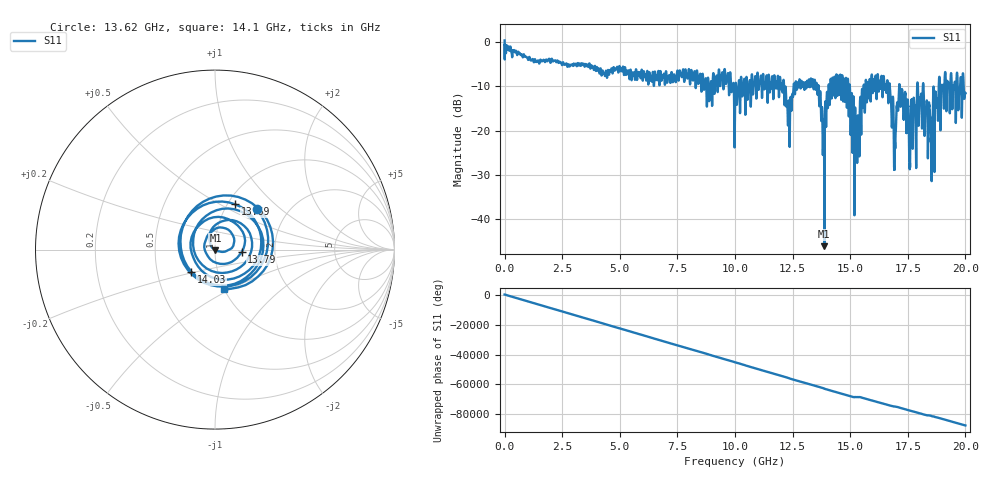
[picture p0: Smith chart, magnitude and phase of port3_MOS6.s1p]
! MS46122B
! 2250307/22442219
! 7/25/2025 1:37:32 PM
! C:\USERS\SPARKY\DOCUMENTS\VNA_DATA\JULY25_2025\3K\PORT3_MOS6.S1P
! CHANNEL.1
! TR.MEASUREMENT
! RAW.DATA
# GHZ S RI R 50.0
! FREQ.GHZ  S11RE  S11IM
!; PortSelection: Port_1
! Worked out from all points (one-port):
!   10001 points, 1 MHz to 20 GHz, reference 50 ohm
!   lowest |S11| = -46.1 dB at 13.88 GHz (marker M1), VSWR 1.01, Z = 50.2 - j0.449 ohm
!   |S11| at or under -10 dB: 14.99 GHz to 15.58 GHz (596.2 MHz wide, 3.9 % of centre); 17.15 GHz to 17.91 GHz (758.3 MHz wide, 4.33 % of centre); 18.18 GHz to 18.84 GHz (661.3 MHz wide, 3.57 % of centre) (the widest 3 of 88)
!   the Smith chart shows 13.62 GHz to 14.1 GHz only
!   S11 on the Smith chart (normalised r, x): 13.62 GHz: 1.40, +0.70; 13.69 GHz: 1.08, +0.59; 13.79 GHz: 1.35, -0.04; 14.03 GHz: 0.75, -0.19; 14.1 GHz: 1.00, -0.46
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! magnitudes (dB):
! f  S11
! 1 MHz  0.4
! 2.501 GHz  -5.1
! 5.001 GHz  -5.7
! 7.501 GHz  -6.4
! 9.621 GHz  -9.0
! 10 GHz  -13.7
! 11.05 GHz  -9.2
! 12.03 GHz  -9.3
! 12.36 GHz  -18.6
! 12.5 GHz  -11.9
! 13.62 GHz  -9.8
! 13.69 GHz  -11.2
! 13.79 GHz  -16.5
! 13.88 GHz  -46.1
! 14.03 GHz  -14.9
! 14.1 GHz  -12.9
! 15 GHz  -12.9
! 15.27 GHz  -19.4
! 15.6 GHz  -9.8
! 16.28 GHz  -8.7
! 16.68 GHz  -10.9
! 16.89 GHz  -20.6
! 17.19 GHz  -14.3
! 17.5 GHz  -13.4
! 18.1 GHz  -14.8
! 18.47 GHz  -17.1
! 19.05 GHz  -11.4
! 20 GHz  -11.6
